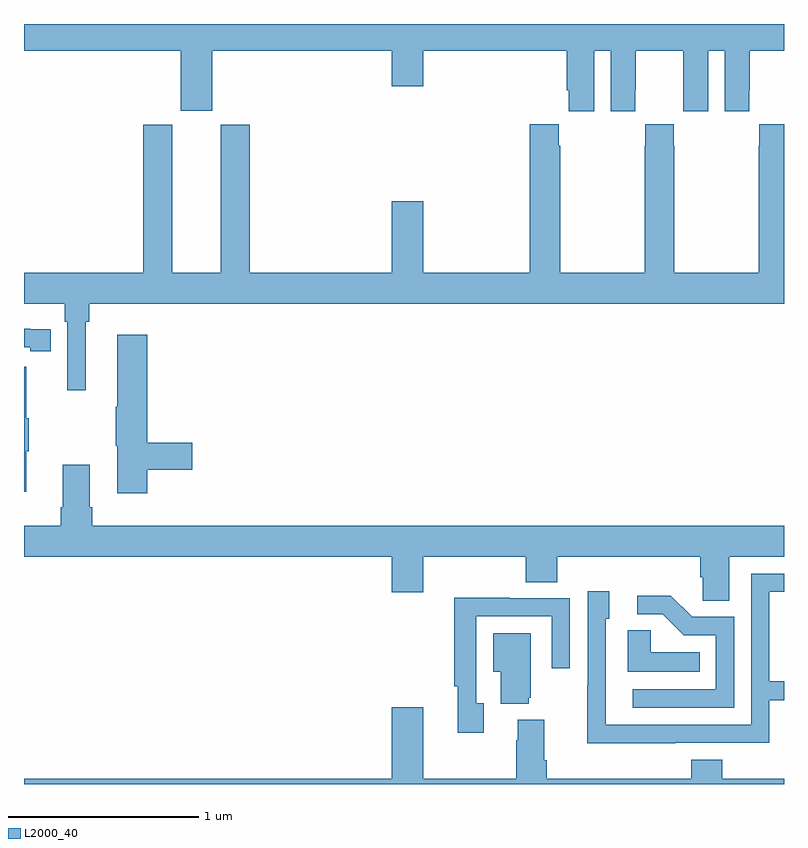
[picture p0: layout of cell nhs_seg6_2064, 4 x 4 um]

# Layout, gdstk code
import gdstk
lib = gdstk.Library(unit=1e-6, precision=1e-09)
def P(c, l, *ps):  # polygons
    for p in ps: c.add(gdstk.Polygon(p, *l))
L2000_40 = (2000, 40)

nhs_seg6_2064 = lib.new_cell('nhs_seg6_2064')
P(nhs_seg6_2064, L2000_40, [(235,923.36),(235.826,923.36),(235.826,923.043),(235.99,923.043),(235.99,923.36),(236.936,923.36),(236.936,923.172),(237.1,923.172),(237.1,923.36),(237.857,923.36),(237.857,923.152),(237.866,923.152),(237.866,923.04),(238,923.04),(238,923.36),(238.088,923.36),(238.088,923.04),(238.218,923.04),(238.218,923.152),(238.219,923.152),(238.219,923.36),(238.469,923.36),(238.469,923.152),(238.47,923.152),(238.47,923.04),(238.6,923.04),(238.6,923.36),(238.688,923.36),(238.688,923.04),(238.818,923.04),(238.818,923.152),(238.819,923.152),(238.819,923.36),(239,923.36),(239,923.5),(235,923.5)],
  [(235.324,921.932),(235.343,921.932),(235.343,922.028),(239,922.028),(239,922.972),(238.869,922.972),(238.869,922.859),(238.867,922.859),(238.867,922.192),(238.422,922.192),(238.422,922.859),(238.419,922.859),(238.419,922.972),(238.269,922.972),(238.269,922.859),(238.267,922.859),(238.267,922.192),(237.822,922.192),(237.822,922.859),(237.815,922.859),(237.815,922.972),(237.662,922.972),(237.662,922.192),(237.1,922.192),(237.1,922.567),(236.936,922.567),(236.936,922.192),(236.189,922.192),(236.189,922.971),(236.036,922.971),(236.036,922.192),(235.78,922.192),(235.78,922.971),(235.628,922.971),(235.628,922.192),(235,922.192),(235,922.028),(235.214,922.028),(235.214,921.932),(235.227,921.932),(235.227,921.573),(235.324,921.573)],
  [(235.142,921.894),(235.034,921.894),(235.034,921.895),(235,921.895),(235,921.798),(235.034,921.798),(235.034,921.778),(235.142,921.778)],
  [(235.649,921.154),(235.885,921.154),(235.885,921.296),(235.649,921.296),(235.649,921.865),(235.49,921.865),(235.49,921.485),(235.483,921.485),(235.483,921.279),(235.49,921.279),(235.49,921.03),(235.649,921.03)],
  [(235.013,921.251),(235.024,921.251),(235.024,921.425),(235.013,921.425),(235.013,921.697),(235,921.697),(235,921.039),(235.013,921.039)],
  [(238.711,920.696),(239,920.696),(239,920.86),(235.358,920.86),(235.358,920.956),(235.345,920.956),(235.345,921.181),(235.205,921.181),(235.205,920.956),(235.193,920.956),(235.193,920.86),(235,920.86),(235,920.696),(236.936,920.696),(236.936,920.508),(237.1,920.508),(237.1,920.696),(237.641,920.696),(237.641,920.563),(237.806,920.563),(237.806,920.696),(238.559,920.696),(238.559,920.587),(238.572,920.587),(238.572,920.464),(238.711,920.464)],
  [(238.427,919.716),(238.923,919.716),(238.923,919.941),(239,919.941),(239,920.042),(238.923,920.042),(238.923,920.511),(239,920.511),(239,920.607),(238.827,920.607),(238.827,919.812),(238.062,919.812),(238.062,920.37),(238.081,920.37),(238.081,920.515),(237.966,920.515),(237.966,920.021),(237.964,920.021),(237.964,919.715),(238.427,919.715)],
  [(238.737,920.379),(238.518,920.379),(238.405,920.492),(238.227,920.492),(238.227,920.394),(238.361,920.394),(238.472,920.283),(238.641,920.283),(238.641,919.998),(238.203,919.998),(238.203,919.902),(238.737,919.902)],
  [(237.421,919.926),(237.381,919.926),(237.381,920.382),(237.777,920.382),(237.777,920.109),(237.873,920.109),(237.873,920.478),(237.557,920.478),(237.557,920.48),(237.265,920.48),(237.265,920.014),(237.284,920.014),(237.284,919.77),(237.421,919.77)],
  [(238.556,920.194),(238.299,920.194),(238.299,920.309),(238.178,920.309),(238.178,920.09),(238.556,920.09)],
  [(237.656,919.953),(237.667,919.953),(237.667,920.293),(237.47,920.293),(237.47,920.09),(237.509,920.09),(237.509,919.922),(237.656,919.922)],
  [(239,919.528),(238.676,919.528),(238.676,919.627),(238.511,919.627),(238.511,919.528),(237.752,919.528),(237.752,919.624),(237.739,919.624),(237.739,919.837),(237.599,919.837),(237.599,919.73),(237.592,919.73),(237.592,919.528),(237.1,919.528),(237.1,919.903),(236.936,919.903),(236.936,919.528),(235,919.528),(235,919.5),(239,919.5)])

lib.write_gds('nhs_seg6_2064.gds')
